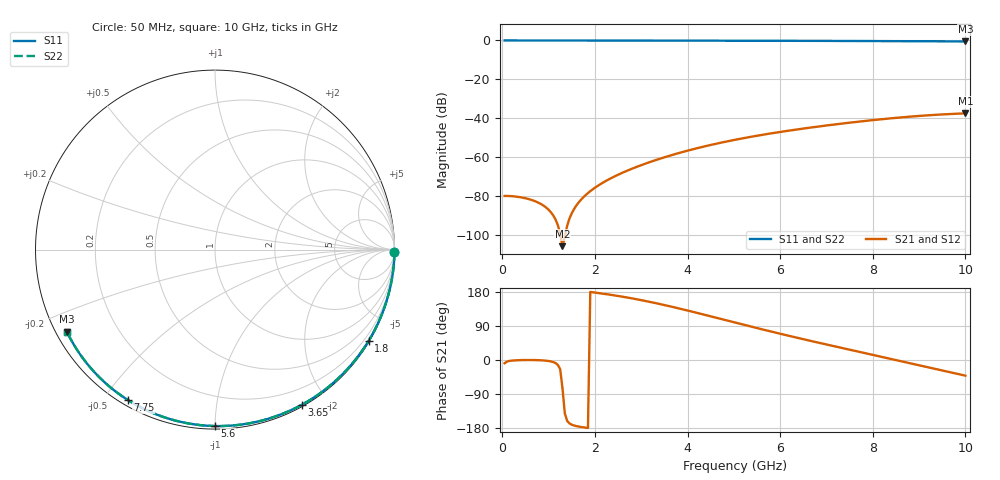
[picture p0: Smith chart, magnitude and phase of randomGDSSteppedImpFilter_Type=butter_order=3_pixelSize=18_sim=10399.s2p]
! freq	dB(S11)	phase(S11)	dB(S12)	phase(S12)
!  dB(S21)	phase(S21)	dB(S22)	phase(S22)
!S-par simulation data
#  GHz  S  DB  R 50
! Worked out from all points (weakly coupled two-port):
!   200 points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, 50 MHz to 10 GHz, reference 50 ohm
!   highest |S21| = -37.43 dB at 10 GHz (marker M1); lowest = -105.6 dB at 1.3 GHz (marker M2)
!   lowest |S11| = -0.5 dB at 10 GHz (marker M3), VSWR 34.50, Z = 1.55 - j12.9 ohm
!   |S11| at or under -10 dB: nowhere
!   |S22| runs from -0.5 to 0.0 dB; largest |S21 - S12| = 0
!   S11 on the Smith chart (normalised r, x): 50 MHz: open; 1.8 GHz: 0.03, -3.64; 3.65 GHz: 0.02, -1.71; 5.6 GHz: 0.02, -1.00; 7.75 GHz: 0.02, -0.57; 10 GHz: 0.03, -0.26
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0.05  -0.00 -0.9  -79.86 -8.6  -79.86 -8.6  -0.00 -0.9
0.65  -0.01 -11.2  -82.03 -0.0  -82.03 -0.0  -0.01 -11.2
1.3  -0.03 -22.3  -105.63 -74.9  -105.63 -74.9  -0.03 -22.3
1.75  -0.04 -29.9  -80.52 -177.8  -80.52 -177.8  -0.04 -29.9
1.8  -0.04 -30.7  -79.39 -178.7  -79.39 -178.7  -0.04 -30.7
1.9  -0.04 -32.4  -77.38 179.6  -77.38 179.6  -0.04 -32.4
2.05  -0.04 -34.9  -74.82 177.1  -74.82 177.1  -0.04 -34.9
2.2  -0.05 -37.4  -72.63 174.6  -72.63 174.6  -0.05 -37.4
2.4  -0.05 -40.6  -70.09 170.9  -70.09 170.9  -0.05 -40.7
2.85  -0.06 -48.0  -65.38 161.5  -65.38 161.5  -0.06 -48.0
3.4  -0.08 -56.8  -60.74 147.7  -60.74 147.7  -0.08 -56.8
3.65  -0.08 -60.7  -58.92 140.8  -58.92 140.8  -0.08 -60.7
4.3  -0.10 -70.7  -54.77 121.5  -54.77 121.5  -0.10 -70.8
5.05  -0.13 -82.0  -50.89 98.1  -50.89 98.1  -0.13 -82.0
5.6  -0.15 -90.0  -48.51 81.2  -48.51 81.2  -0.15 -90.1
6.15  -0.17 -97.9  -46.44 64.9  -46.44 64.9  -0.17 -97.9
6.7  -0.21 -105.6  -44.59 49.3  -44.59 49.3  -0.21 -105.7
7.2  -0.24 -112.6  -43.07 35.4  -43.07 35.4  -0.24 -112.6
7.75  -0.28 -120.2  -41.54 20.4  -41.54 20.4  -0.28 -120.2
8.35  -0.33 -128.4  -40.07 4.0  -40.07 4.0  -0.33 -128.5
9.2  -0.41 -140.1  -38.42 -19.4  -38.42 -19.4  -0.41 -140.1
10  -0.50 -151.0  -37.43 -41.3  -37.43 -41.3  -0.50 -151.1
